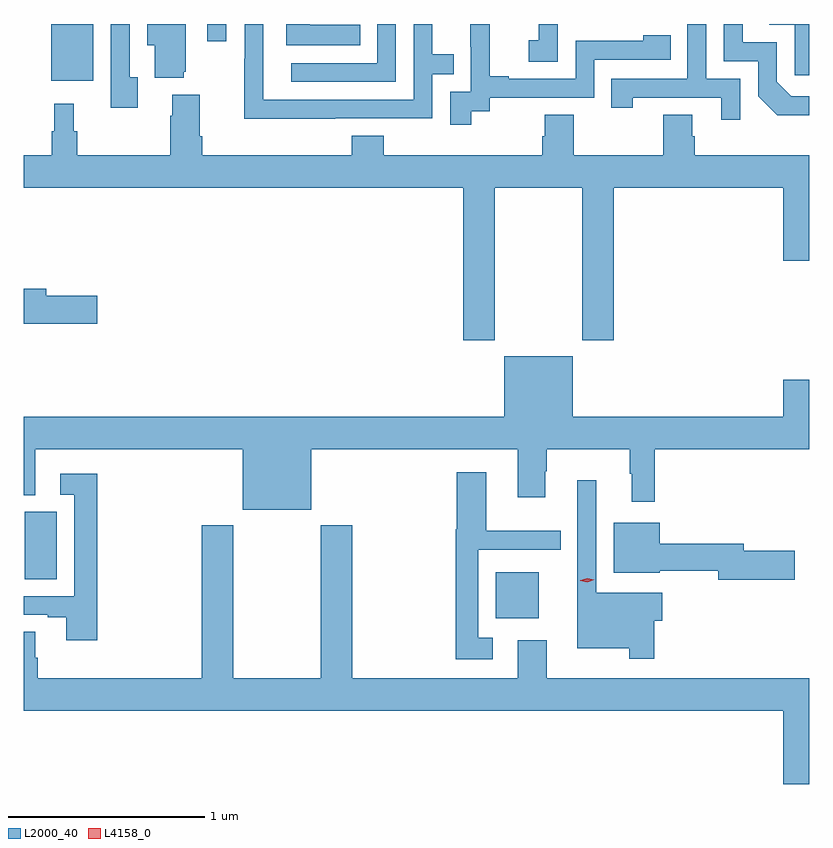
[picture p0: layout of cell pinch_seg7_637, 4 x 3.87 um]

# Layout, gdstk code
import gdstk
lib = gdstk.Library(unit=1e-6, precision=1e-09)
def R(c, l, rs):  # rectangles x0, y0, x1, y1
    for r in rs: c.add(gdstk.rectangle(r[:2], r[2:], *l))
def P(c, l, *ps):  # polygons
    for p in ps: c.add(gdstk.Polygon(p, *l))
L2000_40 = (2000, 40)
L4158_0 = (4158, 0)

pinch_seg7_637 = lib.new_cell('pinch_seg7_637')
R(pinch_seg7_637, L2000_40, [(175.532,1005.083,175.75,1005.316), (173.132,1005.28,173.296,1005.624), (173.267,1007.819,173.482,1008.109), (174.063,1008.021,174.159,1008.109)])
P(pinch_seg7_637, L2000_40, [(175.408,1007.665),(175.5,1007.665),(175.5,1007.733),(176.034,1007.733),(176.034,1007.928),(176.423,1007.928),(176.423,1008.051),(176.283,1008.051),(176.283,1008.024),(175.938,1008.024),(175.938,1007.829),(175.597,1007.829),(175.597,1007.842),(175.502,1007.842),(175.502,1008.109),(175.403,1008.109),(175.403,1007.993),(175.404,1007.993),(175.404,1007.763),(175.299,1007.763),(175.299,1007.595),(175.408,1007.595)],
  [(173.707,1007.838),(173.667,1007.838),(173.667,1008.109),(173.571,1008.109),(173.571,1007.682),(173.707,1007.682)],
  [(174.842,1008.106),(174.585,1008.106),(174.585,1008.109),(174.464,1008.109),(174.464,1008.002),(174.842,1008.002)],
  [(175.023,1008.109),(174.927,1008.109),(174.927,1007.91),(174.489,1007.91),(174.489,1007.814),(175.023,1007.814)],
  [(173.942,1007.865),(173.953,1007.865),(173.953,1008.109),(173.756,1008.109),(173.756,1008.002),(173.795,1008.002),(173.795,1007.834),(173.942,1007.834)],
  [(177.128,1007.742),(177.036,1007.742),(176.964,1007.814),(176.964,1008.015),(176.791,1008.015),(176.791,1008.109),(176.694,1008.109),(176.694,1007.919),(176.868,1007.919),(176.868,1007.742),(176.966,1007.645),(177.128,1007.645)],
  [(176.778,1007.829),(176.604,1007.829),(176.604,1008.109),(176.508,1008.109),(176.508,1007.829),(176.119,1007.829),(176.119,1007.682),(176.23,1007.682),(176.23,1007.733),(176.681,1007.733),(176.681,1007.622),(176.778,1007.622)],
  [(175.848,1008.109),(175.75,1008.109),(175.75,1008.025),(175.701,1008.025),(175.701,1007.916),(175.848,1007.916)],
  [(177.128,1008.109),(176.925,1008.109),(176.925,1008.105),(177.054,1008.105),(177.054,1007.847),(177.128,1007.847)],
  [(174.713,1007.628),(175.209,1007.628),(175.209,1007.853),(175.319,1007.853),(175.319,1007.954),(175.209,1007.954),(175.209,1008.109),(175.113,1008.109),(175.113,1007.724),(174.348,1007.724),(174.348,1008.109),(174.252,1008.109),(174.252,1007.933),(174.25,1007.933),(174.25,1007.627),(174.713,1007.627)],
  [(175.527,1007.276),(175.972,1007.276),(175.972,1006.497),(176.132,1006.497),(176.132,1007.276),(176.996,1007.276),(176.996,1006.902),(177.128,1006.902),(177.128,1007.44),(176.546,1007.44),(176.546,1007.538),(176.533,1007.538),(176.533,1007.648),(176.386,1007.648),(176.386,1007.44),(175.929,1007.44),(175.929,1007.648),(175.781,1007.648),(175.781,1007.538),(175.769,1007.538),(175.769,1007.44),(174.962,1007.44),(174.962,1007.539),(174.797,1007.539),(174.797,1007.44),(174.038,1007.44),(174.038,1007.536),(174.025,1007.536),(174.025,1007.749),(173.885,1007.749),(173.885,1007.642),(173.873,1007.642),(173.873,1007.44),(173.399,1007.44),(173.399,1007.564),(173.381,1007.564),(173.381,1007.704),(173.282,1007.704),(173.282,1007.564),(173.271,1007.564),(173.271,1007.44),(173.128,1007.44),(173.128,1007.276),(175.367,1007.276),(175.367,1006.497),(175.527,1006.497)],
  [(173.503,1006.724),(173.242,1006.724),(173.242,1006.76),(173.128,1006.76),(173.128,1006.582),(173.503,1006.582)],
  [(174.592,1005.944),(175.643,1005.944),(175.643,1005.699),(175.783,1005.699),(175.783,1005.83),(175.791,1005.83),(175.791,1005.944),(176.214,1005.944),(176.214,1005.818),(176.225,1005.818),(176.225,1005.675),(176.342,1005.675),(176.342,1005.944),(177.128,1005.944),(177.128,1006.297),(176.996,1006.297),(176.996,1006.108),(175.924,1006.108),(175.924,1006.417),(175.574,1006.417),(175.574,1006.108),(173.128,1006.108),(173.128,1005.709),(173.185,1005.709),(173.185,1005.944),(174.242,1005.944),(174.242,1005.635),(174.592,1005.635)],
  [(175.516,1004.983),(175.443,1004.983),(175.443,1005.432),(175.862,1005.432),(175.862,1005.529),(175.483,1005.529),(175.483,1005.826),(175.334,1005.826),(175.334,1005.535),(175.327,1005.535),(175.327,1004.874),(175.516,1004.874)],
  [(173.501,1005.817),(173.313,1005.817),(173.313,1005.711),(173.385,1005.711),(173.385,1005.195),(173.128,1005.195),(173.128,1005.099),(173.249,1005.099),(173.249,1005.087),(173.345,1005.087),(173.345,1004.97),(173.501,1004.97)],
  [(176.339,1005.07),(176.38,1005.07),(176.38,1005.211),(176.043,1005.211),(176.043,1005.784),(175.947,1005.784),(175.947,1005.307),(175.946,1005.307),(175.946,1004.93),(176.211,1004.93),(176.211,1004.877),(176.339,1004.877)],
  [(177.055,1005.425),(176.794,1005.425),(176.794,1005.461),(176.368,1005.461),(176.368,1005.568),(176.132,1005.568),(176.132,1005.314),(176.368,1005.314),(176.368,1005.325),(176.666,1005.325),(176.666,1005.278),(177.055,1005.278)],
  [(177.128,1004.776),(175.792,1004.776),(175.792,1004.971),(175.643,1004.971),(175.643,1004.776),(174.8,1004.776),(174.8,1005.556),(174.64,1005.556),(174.64,1004.776),(174.195,1004.776),(174.195,1005.556),(174.035,1005.556),(174.035,1004.776),(173.198,1004.776),(173.198,1004.882),(173.185,1004.882),(173.185,1005.014),(173.128,1005.014),(173.128,1004.612),(176.996,1004.612),(176.996,1004.238),(177.128,1004.238)])
P(pinch_seg7_637, L4158_0, [(175.998,1005.266),(175.962,1005.274),(175.962,1005.275),(175.962,1005.275),(175.997,1005.286),(176.033,1005.278),(176.033,1005.278),(176.033,1005.278)])

lib.write_gds('pinch_seg7_637.gds')
